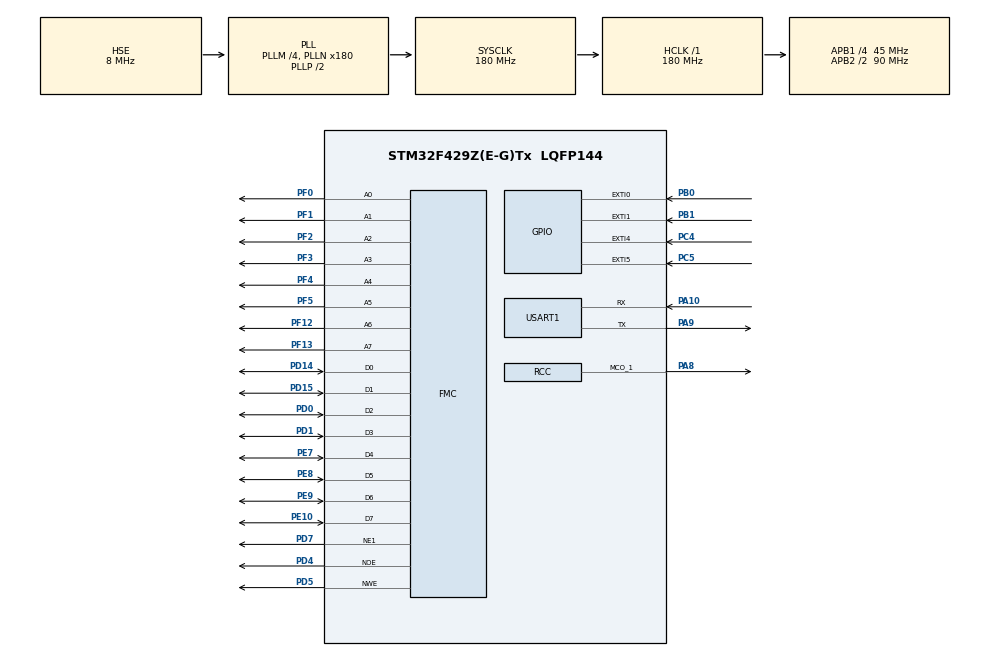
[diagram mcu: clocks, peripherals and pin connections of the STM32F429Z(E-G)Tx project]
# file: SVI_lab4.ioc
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FMC.WriteOperation1=FMC_WRITE_OPERATION_ENABLE
Mcu.Family=STM32F4
Mcu.Name=STM32F429Z(E-G)Tx
Mcu.Package=LQFP144
NVIC.EXTI0_IRQn=true\:0\:0\:false\:false\:true\:true\:true
NVIC.EXTI1_IRQn=true\:0\:0\:false\:false\:true\:true\:true
NVIC.EXTI4_IRQn=true\:0\:0\:false\:false\:true\:true\:true
NVIC.EXTI9_5_IRQn=true\:0\:0\:false\:false\:true\:true\:true
NVIC.PriorityGroup=NVIC_PRIORITYGROUP_4
PA10.Mode=Asynchronous
PA10.Signal=USART1_RX
PA8.Mode=Clock-out-1
PA8.Signal=RCC_MCO_1
PA9.Mode=Asynchronous
PA9.Signal=USART1_TX
PB0.GPIO_PuPd=GPIO_PULLUP
PB0.Signal=GPXTI0
PB1.GPIO_ModeDefaultEXTI=GPIO_MODE_IT_RISING
PB1.GPIO_PuPd=GPIO_PULLUP
PB1.Signal=GPXTI1
PC4.GPIO_PuPd=GPIO_PULLUP
PC4.Signal=GPXTI4
PC5.GPIO_PuPd=GPIO_PULLUP
PC5.Signal=GPXTI5
PD0.Signal=FMC_D2_DA2
PD1.Signal=FMC_D3_DA3
PD14.Signal=FMC_D0_DA0
PD15.Signal=FMC_D1_DA1
PD4.Signal=FMC_NOE
PD5.Signal=FMC_NWE
PD7.Mode=NorPsramChipSelect1_1
PD7.Signal=FMC_NE1
PE10.Signal=FMC_D7_DA7
PE7.Signal=FMC_D4_DA4
PE8.Signal=FMC_D5_DA5
PE9.Signal=FMC_D6_DA6
PF0.Signal=FMC_A0
PF1.Signal=FMC_A1
PF12.Signal=FMC_A6
PF13.Signal=FMC_A7
PF2.Signal=FMC_A2
PF3.Signal=FMC_A3
PF4.Signal=FMC_A4
PF5.Signal=FMC_A5
PH0/OSC_IN.Mode=HSE-External-Oscillator
PH0/OSC_IN.Signal=RCC_OSC_IN
PH1/OSC_OUT.Mode=HSE-External-Oscillator
PH1/OSC_OUT.Signal=RCC_OSC_OUT
ProjectManager.HeapSize=0x200
ProjectManager.StackSize=0x400
ProjectManager.TargetToolchain=TrueSTUDIO
RCC.48MHZClocksFreq_Value=90000000
RCC.AHBFreq_Value=180000000
RCC.APB1CLKDivider=RCC_HCLK_DIV4
RCC.APB1Freq_Value=45000000
RCC.APB1TimFreq_Value=90000000
RCC.APB2CLKDivider=RCC_HCLK_DIV2
RCC.APB2Freq_Value=90000000
RCC.APB2TimFreq_Value=180000000
RCC.CortexFreq_Value=180000000
RCC.DATA_CACHE_ENABLE=0
RCC.HCLKFreq_Value=180000000
RCC.HSE_VALUE=8000000
RCC.HSI_VALUE=16000000
RCC.LSE_VALUE=32768
RCC.PLLM=4
RCC.PLLN=180
RCC.PLLSourceVirtual=RCC_PLLSOURCE_HSE
RCC.SYSCLKFreq_VALUE=180000000
RCC.SYSCLKSource=RCC_SYSCLKSOURCE_PLLCLK
RCC.VCOOutputFreq_Value=360000000
SH.FMC_A0.0=FMC_A0,8b-a1
SH.FMC_A1.0=FMC_A1,8b-a1
SH.FMC_A2.0=FMC_A2,8b-a1
SH.FMC_A3.0=FMC_A3,8b-a1
SH.FMC_A4.0=FMC_A4,8b-a1
SH.FMC_A5.0=FMC_A5,8b-a1
SH.FMC_A6.0=FMC_A6,8b-a1
SH.FMC_A7.0=FMC_A7,8b-a1
SH.FMC_D0_DA0.0=FMC_D0,8b-d1
SH.FMC_D1_DA1.0=FMC_D1,8b-d1
SH.FMC_D2_DA2.0=FMC_D2,8b-d1
SH.FMC_D3_DA3.0=FMC_D3,8b-d1
SH.FMC_D4_DA4.0=FMC_D4,8b-d1
SH.FMC_D5_DA5.0=FMC_D5,8b-d1
SH.FMC_D6_DA6.0=FMC_D6,8b-d1
SH.FMC_D7_DA7.0=FMC_D7,8b-d1
SH.FMC_NOE.0=FMC_NOE,Sram1
SH.FMC_NWE.0=FMC_NWE,Sram1
USART1.VirtualMode=VM_ASYNC
board=custom

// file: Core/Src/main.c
/* USER CODE BEGIN Header */
/**
  ******************************************************************************
  * @file           : main.c
  * @brief          : Main program body
  ******************************************************************************
  * @attention
  *
  * <h2><center>&copy; Copyright (c) 2021 STMicroelectronics.
  * All rights reserved.</center></h2>
  *
  * This software component is licensed by ST under BSD 3-Clause license,
  * the "License"; You may not use this file except in compliance with the
  * License. You may obtain a copy of the License at:
  *                        opensource.org/licenses/BSD-3-Clause
  *
  ******************************************************************************
  */
/* USER CODE END Header */
#include "main.h"

/* USER CODE BEGIN Includes */
#include "Inel_SVI.h"
/* USER CODE END Includes */

/* USER CODE BEGIN PD */
#define SIZE_W 16
#define SIZE_H 8
/* USER CODE END PD */

UART_HandleTypeDef huart1;

SRAM_HandleTypeDef hsram1;

/* USER CODE BEGIN PV */
/* "C++" info model
 * 1 row: 1111 1111 - 0xFF
 * 2 row: 1000 0001 - 0x81
 * 3 row: 1000 0001 - 0x81
 * 4 row: 1000 0001 - 0x81
 * 5 row: 0000 0000 - 0x00
 * 6 row: 0001 0000 - 0x10
 * 7 row: 0011 1000 - 0x38
 * 8 row: 0001 0000 - 0x10
 * 9 row: 0000 0000 - 0x00
 * 10 row: 0001 0000 - 0x10
 * 11 row: 0011 1000 - 0x38
 * 12 row: 0001 0000 - 0x10
 * 13 row: 0000 0000 - 0x00
 * 14 row: 0000 0000 - 0x00
 * 15 row: 0000 0000 - 0x00
 * 16 row: 0000 0000 - 0x00
 * */

/*
uint8_t Cpp_picture [16] = {
		0xFF, 0x81, 0x81, 0x81, 0x00, 0x10, 0x38, 0x10,
		0x00, 0x10, 0x38, 0x10, 0x00, 0x00, 0x00, 0x00
};
*/

volatile uint8_t move_left = 0;
volatile uint8_t move_top = 0;
volatile uint8_t move_bottom = 0;
volatile uint8_t move_right = 0;
volatile uint32_t time_irq = 0;

uint8_t point[16] = {
		0x00, 0x00, 0x00, 0x00, 0x00, 0x00, 0x00, 0x10,
		0x00, 0x00, 0x00, 0x00, 0x00, 0x00, 0x00, 0x00
};
/* USER CODE END PV */

void SystemClock_Config(void);
static void MX_GPIO_Init(void);
static void MX_FMC_Init(void);
static void MX_USART1_UART_Init(void);
/* USER CODE BEGIN PFP */
void DisplayMatrix();
void ClearMatrix();
void ShiftLeft();
void ShiftTop();
void ShiftBottom();
void ShiftRight();
/* USER CODE END PFP */

int main(void)
{

  /* MCU Configuration--------------------------------------------------------*/

  /* Reset of all peripherals, Initializes the Flash interface and the Systick. */
  HAL_Init();

  /* Configure the system clock */
  SystemClock_Config();

  /* Initialize all configured peripherals */
  MX_GPIO_Init();
  MX_FMC_Init();
  MX_USART1_UART_Init();
  /* USER CODE BEGIN 2 */
  /*
   * 'C++' print
  for(int i = 0; i < 16; i++) {
	  ExtSramWrite(LM_COL0 + i, Cpp_picture[i]);
  }
  */
  ClearMatrix();
  DisplayMatrix();
  /* USER CODE END 2 */

  /* Infinite loop */
  while (1)
  {

    /* USER CODE BEGIN 3 */
	  if(move_left && (HAL_GetTick() - time_irq) > 200) {
		  __HAL_GPIO_EXTI_CLEAR_IT(GPIO_PIN_4);
		  NVIC_ClearPendingIRQ(EXTI4_IRQn);
		  HAL_NVIC_EnableIRQ(EXTI4_IRQn);
		  move_left = 0;
		  ShiftLeft();
	  }
	  if(move_top && (HAL_GetTick() - time_irq) > 200) {
		  __HAL_GPIO_EXTI_CLEAR_IT(GPIO_PIN_5);
		  NVIC_ClearPendingIRQ(EXTI9_5_IRQn);
		  HAL_NVIC_EnableIRQ(EXTI9_5_IRQn);
		  move_top = 0;
		  ShiftTop();
	  }
	  if(move_bottom && (HAL_GetTick() - time_irq) > 200) {
		  __HAL_GPIO_EXTI_CLEAR_IT(GPIO_PIN_0);
		  NVIC_ClearPendingIRQ(EXTI0_IRQn);
		  HAL_NVIC_EnableIRQ(EXTI0_IRQn);
		  move_bottom = 0;
		  ShiftBottom();
	  }
	  if(move_right && (HAL_GetTick() - time_irq) > 200) {
		  __HAL_GPIO_EXTI_CLEAR_IT(GPIO_PIN_1);
		  NVIC_ClearPendingIRQ(EXTI1_IRQn);
		  HAL_NVIC_EnableIRQ(EXTI1_IRQn);
		  move_right = 0;
		  ShiftRight();
	  }

	  HAL_Delay(100);
	  DisplayMatrix();
  }
  /* USER CODE END 3 */
}

void SystemClock_Config(void)
{
  RCC_OscInitTypeDef RCC_OscInitStruct = {0};
  RCC_ClkInitTypeDef RCC_ClkInitStruct = {0};

  /** Configure the main internal regulator output voltage
  */
  __HAL_RCC_PWR_CLK_ENABLE();
  __HAL_PWR_VOLTAGESCALING_CONFIG(PWR_REGULATOR_VOLTAGE_SCALE1);
  /** Initializes the RCC Oscillators according to the specified parameters
  * in the RCC_OscInitTypeDef structure.
  */
  RCC_OscInitStruct.OscillatorType = RCC_OSCILLATORTYPE_HSI|RCC_OSCILLATORTYPE_HSE;
  RCC_OscInitStruct.HSEState = RCC_HSE_ON;
  RCC_OscInitStruct.HSIState = RCC_HSI_ON;
  RCC_OscInitStruct.HSICalibrationValue = RCC_HSICALIBRATION_DEFAULT;
  RCC_OscInitStruct.PLL.PLLState = RCC_PLL_ON;
  RCC_OscInitStruct.PLL.PLLSource = RCC_PLLSOURCE_HSE;
  RCC_OscInitStruct.PLL.PLLM = 4;
  RCC_OscInitStruct.PLL.PLLN = 180;
  RCC_OscInitStruct.PLL.PLLP = RCC_PLLP_DIV2;
  RCC_OscInitStruct.PLL.PLLQ = 4;
  if (HAL_RCC_OscConfig(&RCC_OscInitStruct) != HAL_OK)
  {
    Error_Handler();
  }
  /** Activate the Over-Drive mode
  */
  if (HAL_PWREx_EnableOverDrive() != HAL_OK)
  {
    Error_Handler();
  }
  /** Initializes the CPU, AHB and APB buses clocks
  */
  RCC_ClkInitStruct.ClockType = RCC_CLOCKTYPE_HCLK|RCC_CLOCKTYPE_SYSCLK
                              |RCC_CLOCKTYPE_PCLK1|RCC_CLOCKTYPE_PCLK2;
  RCC_ClkInitStruct.SYSCLKSource = RCC_SYSCLKSOURCE_PLLCLK;
  RCC_ClkInitStruct.AHBCLKDivider = RCC_SYSCLK_DIV1;
  RCC_ClkInitStruct.APB1CLKDivider = RCC_HCLK_DIV4;
  RCC_ClkInitStruct.APB2CLKDivider = RCC_HCLK_DIV2;

  if (HAL_RCC_ClockConfig(&RCC_ClkInitStruct, FLASH_LATENCY_5) != HAL_OK)
  {
    Error_Handler();
  }
  HAL_RCC_MCOConfig(RCC_MCO1, RCC_MCO1SOURCE_HSI, RCC_MCODIV_1);
}

static void MX_USART1_UART_Init(void)
{

  huart1.Instance = USART1;
  huart1.Init.BaudRate = 115200;
  huart1.Init.WordLength = UART_WORDLENGTH_8B;
  huart1.Init.StopBits = UART_STOPBITS_1;
  huart1.Init.Parity = UART_PARITY_NONE;
  huart1.Init.Mode = UART_MODE_TX_RX;
  huart1.Init.HwFlowCtl = UART_HWCONTROL_NONE;
  huart1.Init.OverSampling = UART_OVERSAMPLING_16;
  if (HAL_UART_Init(&huart1) != HAL_OK)
  {
    Error_Handler();
  }

}

/* FMC initialization function */
static void MX_FMC_Init(void)
{

  FMC_NORSRAM_TimingTypeDef Timing = {0};

  /** Perform the SRAM1 memory initialization sequence
  */
  hsram1.Instance = FMC_NORSRAM_DEVICE;
  hsram1.Extended = FMC_NORSRAM_EXTENDED_DEVICE;
  /* hsram1.Init */
  hsram1.Init.NSBank = FMC_NORSRAM_BANK1;
  hsram1.Init.DataAddressMux = FMC_DATA_ADDRESS_MUX_DISABLE;
  hsram1.Init.MemoryType = FMC_MEMORY_TYPE_SRAM;
  hsram1.Init.MemoryDataWidth = FMC_NORSRAM_MEM_BUS_WIDTH_8;
  hsram1.Init.BurstAccessMode = FMC_BURST_ACCESS_MODE_DISABLE;
  hsram1.Init.WaitSignalPolarity = FMC_WAIT_SIGNAL_POLARITY_LOW;
  hsram1.Init.WrapMode = FMC_WRAP_MODE_DISABLE;
  hsram1.Init.WaitSignalActive = FMC_WAIT_TIMING_BEFORE_WS;
  hsram1.Init.WriteOperation = FMC_WRITE_OPERATION_ENABLE;
  hsram1.Init.WaitSignal = FMC_WAIT_SIGNAL_DISABLE;
  hsram1.Init.ExtendedMode = FMC_EXTENDED_MODE_DISABLE;
  hsram1.Init.AsynchronousWait = FMC_ASYNCHRONOUS_WAIT_DISABLE;
  hsram1.Init.WriteBurst = FMC_WRITE_BURST_DISABLE;
  hsram1.Init.ContinuousClock = FMC_CONTINUOUS_CLOCK_SYNC_ONLY;
  hsram1.Init.PageSize = FMC_PAGE_SIZE_NONE;
  /* Timing */
  Timing.AddressSetupTime = 15;
  Timing.AddressHoldTime = 15;
  Timing.DataSetupTime = 255;
  Timing.BusTurnAroundDuration = 15;
  Timing.CLKDivision = 16;
  Timing.DataLatency = 17;
  Timing.AccessMode = FMC_ACCESS_MODE_A;
  /* ExtTiming */

  if (HAL_SRAM_Init(&hsram1, &Timing, NULL) != HAL_OK)
  {
    Error_Handler( );
  }

}

static void MX_GPIO_Init(void)
{
  GPIO_InitTypeDef GPIO_InitStruct = {0};

  /* GPIO Ports Clock Enable */
  __HAL_RCC_GPIOF_CLK_ENABLE();
  __HAL_RCC_GPIOH_CLK_ENABLE();
  __HAL_RCC_GPIOC_CLK_ENABLE();
  __HAL_RCC_GPIOB_CLK_ENABLE();
  __HAL_RCC_GPIOE_CLK_ENABLE();
  __HAL_RCC_GPIOD_CLK_ENABLE();
  __HAL_RCC_GPIOA_CLK_ENABLE();

  /*Configure GPIO pins : PC4 PC5 */
  GPIO_InitStruct.Pin = GPIO_PIN_4|GPIO_PIN_5;
  GPIO_InitStruct.Mode = GPIO_MODE_IT_RISING;
  GPIO_InitStruct.Pull = GPIO_PULLUP;
  HAL_GPIO_Init(GPIOC, &GPIO_InitStruct);

  /*Configure GPIO pins : PB0 PB1 */
  GPIO_InitStruct.Pin = GPIO_PIN_0|GPIO_PIN_1;
  GPIO_InitStruct.Mode = GPIO_MODE_IT_RISING;
  GPIO_InitStruct.Pull = GPIO_PULLUP;
  HAL_GPIO_Init(GPIOB, &GPIO_InitStruct);

  /*Configure GPIO pin : PA8 */
  GPIO_InitStruct.Pin = GPIO_PIN_8;
  GPIO_InitStruct.Mode = GPIO_MODE_AF_PP;
  GPIO_InitStruct.Pull = GPIO_NOPULL;
  GPIO_InitStruct.Speed = GPIO_SPEED_FREQ_LOW;
  GPIO_InitStruct.Alternate = GPIO_AF0_MCO;
  HAL_GPIO_Init(GPIOA, &GPIO_InitStruct);

  /* EXTI interrupt init*/
  HAL_NVIC_SetPriority(EXTI0_IRQn, 0, 0);
  HAL_NVIC_EnableIRQ(EXTI0_IRQn);

  HAL_NVIC_SetPriority(EXTI1_IRQn, 0, 0);
  HAL_NVIC_EnableIRQ(EXTI1_IRQn);

  HAL_NVIC_SetPriority(EXTI4_IRQn, 0, 0);
  HAL_NVIC_EnableIRQ(EXTI4_IRQn);

  HAL_NVIC_SetPriority(EXTI9_5_IRQn, 0, 0);
  HAL_NVIC_EnableIRQ(EXTI9_5_IRQn);

}

/* USER CODE BEGIN 4 */
void ExtSramWrite(uint32_t addr, uint8_t data) {
        uint8_t* pAddress = (uint8_t* )addr;
        *pAddress = data;
}
void DisplayMatrix() {
	for(int i = 0; i < SIZE_W; i++) {
		ExtSramWrite(LM_COL0 + i, point[i]);
	}
}
void ClearMatrix() {
	for(int i = 0; i < SIZE_W; i++) {
		ExtSramWrite(LM_COL0 + i, 0x00);
	}
}

void HAL_GPIO_EXTI_Callback(uint16_t GPIO_PIN) {
	if(GPIO_PIN == GPIO_PIN_4) {
		HAL_NVIC_DisableIRQ(EXTI4_IRQn);
		move_left = 1;
		time_irq = HAL_GetTick();
	} else if(GPIO_PIN == GPIO_PIN_5) {
		HAL_NVIC_DisableIRQ(EXTI9_5_IRQn);
		move_top = 1;
		time_irq = HAL_GetTick();
	} else if(GPIO_PIN == GPIO_PIN_0) {
		HAL_NVIC_DisableIRQ(EXTI0_IRQn);
		move_bottom = 1;
		time_irq = HAL_GetTick();
	} else if(GPIO_PIN == GPIO_PIN_1) {
		HAL_NVIC_DisableIRQ(EXTI1_IRQn);
		move_right = 1;
		time_irq = HAL_GetTick();
	} else {
		__NOP();
	}
}

uint8_t DetectRowPosition() {
	uint8_t row_pos = 0;
	for(uint8_t i = 0; i < SIZE_W; i++) {
		if(point[i] != 0x00) { //Check not empty row
			row_pos = i;
			break;
		}
	}
	return row_pos;
}

void ShiftLeft() {
	uint8_t row_pos = DetectRowPosition();
	uint8_t buffer = point[row_pos]; //get value of point

	if(row_pos != 0) {
		point[row_pos-1] = buffer;
		point[row_pos] = 0x00;
	} else {
		point[SIZE_W-1] = buffer;
		point[row_pos] = 0x00;
	}
}

void ShiftTop() {
	uint8_t row_pos = DetectRowPosition();
	uint8_t buffer = point[row_pos]; //get value of point
	if(buffer != 0x1) {
		point[row_pos] = buffer >> 1;
	} else {
		point[row_pos] = 0x80;
	}
}

void ShiftBottom() {
	uint8_t row_pos = DetectRowPosition();
	uint8_t buffer = point[row_pos]; //get value of point
	if(buffer != 0x80) {
		point[row_pos] = buffer << 1;
	} else {
		point[row_pos] = 0x1;
	}
}

void ShiftRight() {
	uint8_t row_pos = DetectRowPosition();
	uint8_t buffer = point[row_pos]; //get value of point

	if(row_pos != SIZE_W-1) {
		point[row_pos+1] = buffer;
		point[row_pos] = 0x00;
	} else {
		point[0] = buffer;
		point[row_pos] = 0x00;
	}
}

/* USER CODE END 4 */

void Error_Handler(void)
{
  __disable_irq();
  while (1)
  {
  }
}

/************************ (C) COPYRIGHT STMicroelectronics *****END OF FILE****/
